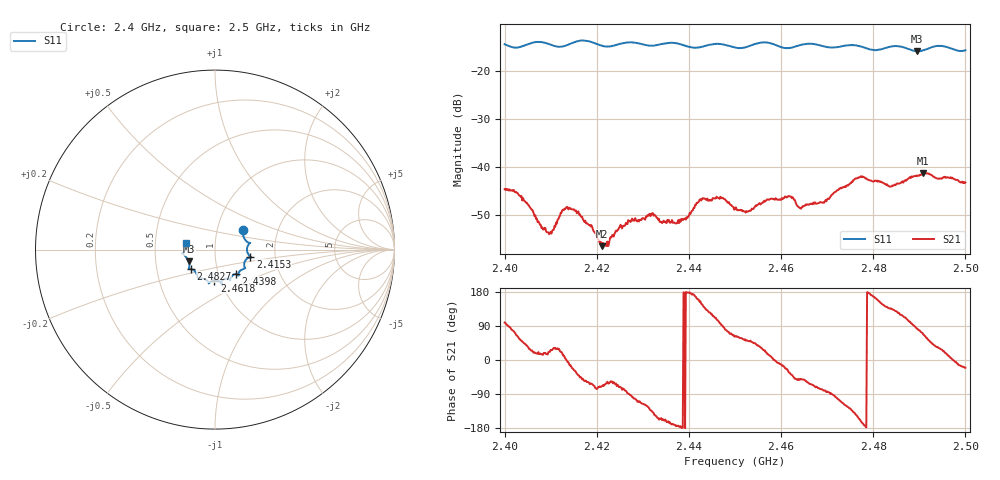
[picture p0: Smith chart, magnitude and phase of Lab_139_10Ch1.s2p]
# Hz S RI R 50
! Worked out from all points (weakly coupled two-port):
!   601 points, 2.4 GHz to 2.5 GHz, reference 50 ohm
!   highest |S21| = -41.26 dB at 2.4908 GHz (marker M1); lowest = -56.5 dB at 2.4212 GHz (marker M2)
!   lowest |S11| = -15.9 dB at 2.4895 GHz (marker M3), VSWR 1.38, Z = 37 - j5.01 ohm
!   |S11| at or under -10 dB: start of sweep to end of sweep
!   S12 and S22 are empty: the file has one direction only
!   S11 on the Smith chart (normalised r, x): 2.4 GHz: 1.33, +0.30; 2.4153 GHz: 1.48, -0.12; 2.4398 GHz: 1.21, -0.34; 2.4618 GHz: 0.94, -0.33; 2.4827 GHz: 0.75, -0.17; 2.5 GHz: 0.72, +0.06
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2.4e9  0.1555 0.1073  -0.000899 0.0058  0 0  0 0
2.403167e9  0.1668 0.057  0.00283 0.00419  0 0  0 0
2.409667e9  0.1875 0.0291  0.00185 0.000734  0 0  0 0
2.413e9  0.1806 -0.0149  0.00363 0.000562  0 0  0 0
2.415333e9  0.1964 -0.0393  0.00307 -0.0017  0 0  0 0
2.416667e9  0.2022 -0.0432  0.00207 -0.00219  0 0  0 0
2.421167e9  0.1735 -0.0551  0.00055 -0.00139  0 0  0 0
2.427333e9  0.1686 -0.1037  -0.000146 -0.00267  0 0  0 0
2.433333e9  0.1299 -0.1339  -0.00252 -0.00126  0 0  0 0
2.439833e9  0.1155 -0.1358  -0.00301 0.000124  0 0  0 0
2.443e9  0.0891 -0.1549  -0.00386 0.00274  0 0  0 0
2.447333e9  0.0833 -0.1691  5.08e-05 0.00477  0 0  0 0
2.45e9  0.0647 -0.1625  0.00173 0.00322  0 0  0 0
2.461833e9  -0.00369 -0.1728  0.00412 -0.00271  0 0  0 0
2.464e9  -0.0282 -0.1823  0.00242 -0.00291  0 0  0 0
2.466667e9  -0.0351 -0.1878  0.00173 -0.00373  0 0  0 0
2.477167e9  -0.0973 -0.1516  -0.00732 -0.00292  0 0  0 0
2.482667e9  -0.135 -0.1081  -0.00514 0.00418  0 0  0 0
2.483333e9  -0.1401 -0.1077  -0.00465 0.00433  0 0  0 0
2.4895e9  -0.1454 -0.066  0.00104 0.00792  0 0  0 0
2.490833e9  -0.1559 -0.0474  0.00328 0.008  0 0  0 0
2.5e9  -0.1591 0.0386  0.00645 -0.0024  0 0  0 0
